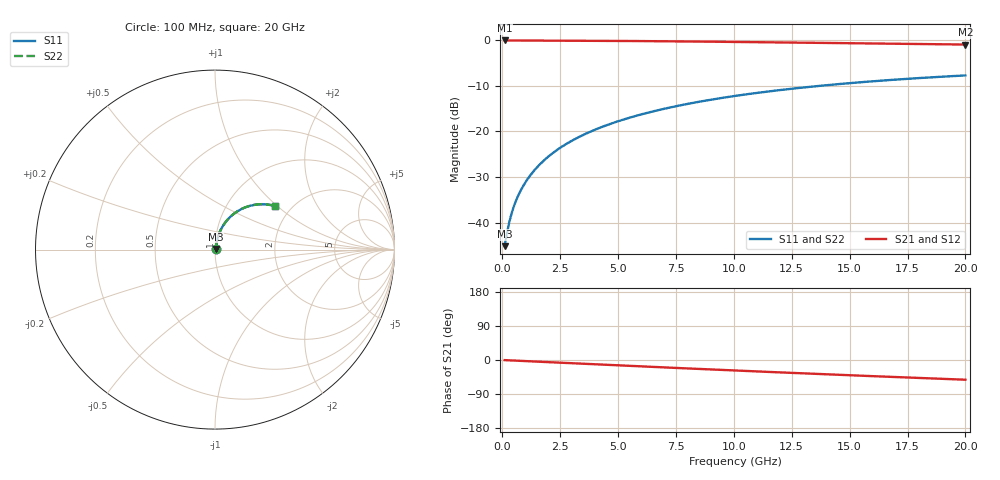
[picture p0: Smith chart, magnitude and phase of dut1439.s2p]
! Touchstone file exported from HFSS 2026.1.0
!  File:  C:/ffzhzh/LocalFiles/Ansys_Project_Files/temp_train_BSMRDL_1439_1783180527_43440.aedt
!  Generated:  11:56:45 PM Jul  4, 2026
!  Design:  BSMRDL
!  Project:  temp_train_BSMRDL_1439_1783180527_43440
! Variables:
!  h_bsmrdl = 2.79um
!  h_ox = 20um
!  h_rdl = 5um
!  h_sub = 80um
!  h_tmrdl = 5um
!  h_tsv = 80um
!  h_via = 3um
!  l_bsmrdl = 809.92um
!  l_sub = 1209.92um
!  l_tmrdl = 200um
!  m_sub = 200um
!  pitch = 45.05um
!  r_tsv = 6um
!  s_tmrdl = 10um
!  w_bsmrdl = 23.23um
!  w_sub = 500um
!  w_tmrdl = 12um
!  x_tsv_center1 = 206um
!  x_tsv_center2 = 1039.15um
!  x_tsv_center3 = 1251.15um
!  x_tsv_center4 = 2084.3um
!  x_tsv_center5 = 2296.3um
!  x_tsv_center6 = 3129.45um
# GHz S MA R 50.000000
! Terminal data exported
! Port[1] = BSM_RDL1_1_T1
! Port[2] = BSM_RDL1_1_T2
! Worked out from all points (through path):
!   200 points, 100 MHz to 20 GHz, reference 50 ohm
!   highest |S21| = -0.04 dB at 100 MHz (marker M1); lowest = -0.9 dB at 20 GHz (marker M2)
!   group delay of S21, straight-line fit = 7.24 ps
!   lowest |S11| = -45.1 dB at 100 MHz (marker M3), VSWR 1.01, Z = 50.5 + j0.3 ohm
!   |S11| at or under -10 dB: start of sweep to 13.7 GHz
!   |S22| runs from -45.1 to -7.7 dB; largest |S21 - S12| = 7e-15
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0.1  0.005527 32.5  0.9954 -0.3  0.9954 -0.3  0.005527 32.5
! Gamma 0 0 0 0
! Port Impedance 50 0 50 0
0.2  0.007638 50.1  0.9951 -0.6  0.9951 -0.6  0.007638 50.1
0.3  0.01009 58.9  0.9949 -0.9  0.9949 -0.9  0.01009 58.9
0.4  0.0126 63.9  0.9946 -1.2  0.9946 -1.2  0.0126 63.9
0.5  0.01512 67.2  0.9944 -1.5  0.9944 -1.5  0.01512 67.2
0.6  0.01763 69.5  0.9942 -1.8  0.9942 -1.8  0.01763 69.5
0.8  0.02266 72.5  0.9939 -2.3  0.9939 -2.3  0.02266 72.6
1.1  0.03026 75.1  0.9935 -3.2  0.9935 -3.2  0.03026 75.1
1.3  0.03536 76.1  0.9932 -3.7  0.9932 -3.7  0.03536 76.1
1.6  0.04305 76.9  0.9928 -4.6  0.9928 -4.6  0.04305 76.9
2.1  0.05592 77.3  0.992 -6.0  0.992 -6.0  0.05592 77.3
2.7  0.07136 76.9  0.9908 -7.7  0.9908 -7.7  0.07135 76.9
3.5  0.0918 75.7  0.9888 -9.9  0.9888 -9.9  0.0918 75.7
4.2  0.1095 74.3  0.9867 -11.9  0.9867 -11.9  0.1095 74.3
5  0.1294 72.5  0.9839 -14.1  0.9839 -14.1  0.1294 72.5
5.9  0.1514 70.3  0.9803 -16.6  0.9803 -16.6  0.1514 70.3
6.8  0.1729 68.1  0.9762 -19.0  0.9762 -19.0  0.1729 68.1
8.3  0.2074 64.3  0.9687 -23.1  0.9687 -23.1  0.2073 64.3
10.1  0.2464 59.7  0.9587 -27.8  0.9587 -27.8  0.2464 59.8
13.4  0.3109 51.5  0.9385 -36.3  0.9385 -36.3  0.3109 51.6
16.7  0.366 43.7  0.9177 -44.3  0.9177 -44.3  0.366 43.8
20  0.4117 36.1  0.8979 -52.0  0.8979 -52.0  0.4117 36.2
